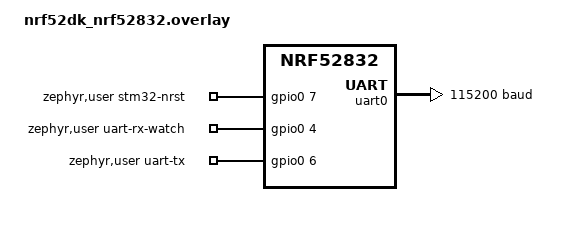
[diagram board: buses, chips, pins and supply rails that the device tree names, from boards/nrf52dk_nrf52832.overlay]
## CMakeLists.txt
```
# HY0020(nRF52832)のプログラム。nRF Connect SDK のアプリ(ボードは nrf52dk/nrf52832 を使う。README.md)
cmake_minimum_required(VERSION 3.20.0)

find_package(Zephyr REQUIRED HINTS $ENV{ZEPHYR_BASE})
project(koguma_mk4_ble)

target_sources(app PRIVATE
  src/main.c
  src/stm32_uart.c
  src/ble_link.c
  src/at_lines.c
)
```

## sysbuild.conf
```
# ブートローダ MCUboot を入れる(2 回目からは BLE で書き換えるため。docs/ble.md の 6.5)
SB_CONFIG_BOOTLOADER_MCUBOOT=y
```

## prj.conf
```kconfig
# HY0020(nRF52832)のプログラムの設定(nRF Connect SDK の Kconfig)

# ---- STM32 との UART(uart0、P0.06 送る・P0.08 受ける)。DMA で受ける非同期の API ----
CONFIG_SERIAL=y
CONFIG_UART_ASYNC_API=y
CONFIG_GPIO=y
# @flash のときに UART を眠らせて、P0.06 をふつうの出力にするため
CONFIG_PM_DEVICE=y

# uart0 は STM32 につながっているので、文字の出力(コンソール・ログ)には使わない。ログは SWD の RTT で見る
CONFIG_CONSOLE=n
CONFIG_UART_CONSOLE=n
CONFIG_LOG=y
CONFIG_USE_SEGGER_RTT=y
CONFIG_LOG_BACKEND_RTT=y
CONFIG_LOG_BACKEND_UART=n
CONFIG_LOG_PRINTK=n

# ---- BLE(Nordic UART Service)----
CONFIG_BT=y
CONFIG_BT_PERIPHERAL=y
CONFIG_BT_MAX_CONN=1
CONFIG_BT_NUS=y
CONFIG_BT_DEVICE_NAME="KOGUMA-MK4"
CONFIG_BT_DEVICE_NAME_DYNAMIC=y
CONFIG_BT_DEVICE_NAME_MAX=29
# 速く送るため: 2M PHY、データ長の拡張、MTU 247
CONFIG_BT_USER_PHY_UPDATE=y
CONFIG_BT_USER_DATA_LEN_UPDATE=y
CONFIG_BT_CTLR_DATA_LENGTH_MAX=251
CONFIG_BT_BUF_ACL_RX_SIZE=251
CONFIG_BT_BUF_ACL_TX_SIZE=251
CONFIG_BT_L2CAP_TX_MTU=247

# ---- 名前を Flash に残す(settings + NVS)----
CONFIG_FLASH=y
CONFIG_FLASH_PAGE_LAYOUT=y
CONFIG_FLASH_MAP=y
CONFIG_NVS=y
CONFIG_SETTINGS=y
CONFIG_BT_SETTINGS=y

# ---- BLE での書き換え(DFU。MCUboot と MCUmgr。sysbuild.conf で MCUboot を入れる)----
CONFIG_NCS_SAMPLE_MCUMGR_BT_OTA_DFU=y
# 書き換えを速くする設定はバッファを大きくして RAM(64KB)に入らないので使わない
CONFIG_NCS_SAMPLE_MCUMGR_BT_OTA_DFU_SPEEDUP=n
# MCUmgr の受けるバッファ(初めは 2475 バイト × 4 で約 10KB)を小さく。BLE の 1 回分(MTU 247)より大きければ動く
CONFIG_MCUMGR_TRANSPORT_NETBUF_SIZE=512
CONFIG_MCUMGR_TRANSPORT_NETBUF_COUNT=4

CONFIG_MAIN_STACK_SIZE=2048
CONFIG_SYSTEM_WORKQUEUE_STACK_SIZE=2048
CONFIG_HEAP_MEM_POOL_SIZE=2048
```

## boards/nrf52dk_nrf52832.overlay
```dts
/*
 * HY0020(nRF52832)を、nRF52 DK のボードの設定で動かすための上書き(デバイスツリー)
 *
 * - uart0: P0.06 送る(→ D99 → STM32 の UART_RX)、P0.08 受ける(← STM32 の UART_TX)。
 *   DK の初めの設定にある流れ制御の線(RTS P0.05・CTS P0.07)は外す(P0.07 は STM32 のリセットに使う)
 * - 速さは 115200(STM32 の USART1 と同じにする。1Mbaud にするときは両方を変える。docs/ble.md の 8 章)
 * - zephyr,user: このプログラムが使うピン(stm32_uart.c)
 */
&pinctrl {
	uart0_default: uart0_default {
		group1 {
			psels = <NRF_PSEL(UART_TX, 0, 6)>,
				<NRF_PSEL(UART_RX, 0, 8)>;
		};
	};

	uart0_sleep: uart0_sleep {
		group1 {
			psels = <NRF_PSEL(UART_RX, 0, 8)>;
			low-power-enable;
		};

		group2 {
			psels = <NRF_PSEL(UART_TX, 0, 6)>;
			low-power-enable;
		};
	};
};

&uart0 {
	current-speed = <115200>;
};

/ {
	zephyr,user {
		/* STM32 の NRST(D101 を通して L に引くだけ) */
		stm32-nrst-gpios = <&gpio0 7 GPIO_ACTIVE_HIGH>;
		/* STM32 の UART_RX を見るだけ(有線が送っているかを知る) */
		uart-rx-watch-gpios = <&gpio0 4 GPIO_ACTIVE_HIGH>;
		/* @flash のときに、UART から外して L にする送る端子(P0.06) */
		uart-tx-gpios = <&gpio0 6 GPIO_ACTIVE_HIGH>;
	};
};
```

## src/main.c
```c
/*
 * main.c — HY0020(nRF52832)のプログラムの入口: 起動の順番だけ
 *
 * 1. STM32 との UART を動かす(stm32_uart.c)
 * 2. BLE を動かし、アドバタイズを始める(ble_link.c)
 * 3. STM32 に「まだつながっていない」(`@link down`)を知らせる
 * あとはスレッドと BLE の知らせで動くので、main はここで終わる。
 */
#include <zephyr/kernel.h>
#include <zephyr/logging/log.h>

#include "koguma_ble.h"

LOG_MODULE_REGISTER(main, LOG_LEVEL_INF);

int main(void)
{
	LOG_INF("KOGUMA MK4 BLE(HY0020)起動");
	if (stm32_uart_start() != 0) {
		return 0;
	}
	if (ble_link_start() != 0) {
		return 0;
	}
	stm32_uart_send_own_line("@link down\n");
	return 0;
}
```

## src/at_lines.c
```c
/*
 * at_lines.c — `@` で始まる行の処理(docs/ble.md の 4.3)
 *
 * STM32 から:
 *   @quiet on   … 電波を止める(アドバタイズを止め、つながっていれば切る)
 *   @quiet off  … 電波を戻す
 *   @link?      … 今つながっているかを聞く → `@link up` か `@link down` を返す(STM32 が再起動したあと用)
 * PC から:
 *   @reset      … STM32 の NRST を 10ms L にする
 *   @flash      … STM32 をブートローダの書き込みの待ちに入れる
 *   @name <名前> … アドバタイズの名前を変えて Flash に残す
 *   PC には `#OK @…` か `#ERR …` を返す
 * この行は相手(STM32・PC)には渡さない。
 */
#include <string.h>
#include <zephyr/kernel.h>
#include <zephyr/logging/log.h>

#include "koguma_ble.h"

LOG_MODULE_REGISTER(at_lines, LOG_LEVEL_INF);

#define AT_LINE_MAX 64   /* @ の行の長さの上限(名前は 29 文字まで) */

/* 行の終わりの改行(\r・\n)を除いて、command に写す */
static void copy_without_newline(char *command, const char *line)
{
	size_t length = strlen(line);

	if (length > AT_LINE_MAX) {
		length = AT_LINE_MAX;
	}
	memcpy(command, line, length);
	command[length] = '\0';
	while (length > 0 && (command[length - 1] == '\n' || command[length - 1] == '\r')) {
		length = length - 1;
		command[length] = '\0';
	}
}

/* PC に 1 行返す(つながっていれば) */
static void reply_to_pc(const char *text)
{
	ble_link_queue_to_pc((const uint8_t *)text, strlen(text));
}

void at_line_from_stm32(const char *line)
{
	char command[AT_LINE_MAX + 1];

	copy_without_newline(command, line);
	if (strcmp(command, "@quiet on") == 0) {
		ble_link_set_quiet(true);
	} else if (strcmp(command, "@quiet off") == 0) {
		ble_link_set_quiet(false);
	} else if (strcmp(command, "@link?") == 0) {
		if (ble_link_is_connected()) {
			stm32_uart_send_own_line("@link up\n");
		} else {
			stm32_uart_send_own_line("@link down\n");
		}
	} else {
		LOG_WRN("STM32 からの知らない行: %s", command);
	}
}

void at_line_from_pc(const char *line)
{
	char command[AT_LINE_MAX + 1];

	copy_without_newline(command, line);
	if (strcmp(command, "@reset") == 0) {
		stm32_reset();
		reply_to_pc("#OK @reset\n");
	} else if (strcmp(command, "@flash") == 0) {
		stm32_enter_bootloader();
		reply_to_pc("#OK @flash\n");
	} else if (strncmp(command, "@name ", 6) == 0) {
		ble_link_set_name(command + 6);   /* "@name " の 6 文字のあとが名前 */
		reply_to_pc("#OK @name\n");
	} else {
		LOG_WRN("PC からの知らない行: %s", command);
		reply_to_pc("#ERR unknown @ command\n");
	}
}
```

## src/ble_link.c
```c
/*
 * ble_link.c — BLE の側(PC とのつながり)
 *
 * やること:
 *   1. 名前(初めは KOGUMA-MK4)を周りに知らせる電波(アドバタイズ)を 1 秒に 1 回出して、PC を待つ
 *   2. PC とつながったら、STM32 に `@link up`、切れたら `@link down` を送る(docs/ble.md の 2 章)
 *   3. PC から届いたデータ(Nordic UART Service = NUS)を、STM32 へ送る列に入れる(stm32_uart.c)
 *   4. STM32 から届いた行を、PC へ送る列に入れ、少しずつ NUS で送る
 *   5. @quiet on・off で電波を止める・戻す、@name で名前を変えて Flash に残す
 *
 * NUS は Nordic の決まった BLE のサービス(nRF Connect SDK の bt_nus)。PC は Web Bluetooth や Python(bleak)で読み書きする。
 */
#include <string.h>
#include <zephyr/kernel.h>
#include <zephyr/bluetooth/bluetooth.h>
#include <zephyr/bluetooth/conn.h>
#include <zephyr/bluetooth/hci.h>
#include <zephyr/settings/settings.h>
#include <zephyr/sys/ring_buffer.h>
#include <zephyr/logging/log.h>
#include <bluetooth/services/nus.h>

#include "koguma_ble.h"

LOG_MODULE_REGISTER(ble_link, LOG_LEVEL_INF);

#define TO_PC_BUF_SIZE 8192           /* PC へ送る待ちの列(STM32 → PC)。あふれそうなら STM32 に XOFF(stm32_uart.c) */
#define NAME_MAX 29                    /* アドバタイズに入る名前の長さの上限 */
#define ADV_INTERVAL 1600              /* アドバタイズの間隔。0.625ms の何倍か(1600 × 0.625ms = 1 秒) */

static struct bt_conn *current_conn = NULL;   /* つながっている PC(つながっていなければ NULL) */
static bool quiet = false;                     /* @quiet on で電波を止めているとき true */
static char adv_name[NAME_MAX + 1] = "KOGUMA-MK4";

RING_BUF_DECLARE(to_pc, TO_PC_BUF_SIZE);
static struct k_spinlock to_pc_lock;
static K_SEM_DEFINE(to_pc_sem, 0, 1);         /* PC へ送るものがある */

/* ---- アドバタイズ ---- */

/* アドバタイズを始める(つながっていない・電波を止めていないとき) */
static void start_advertising(void)
{
	/* 知らせる中身: 「BLE だけの機器」という印と、名前 */
	static const uint8_t flags[] = { BT_LE_AD_GENERAL | BT_LE_AD_NO_BREDR };   /* 印を 2 つ合わせた 1 バイト(Zephyr の決まり) */
	struct bt_data ad[2];

	ad[0].type = BT_DATA_FLAGS;
	ad[0].data_len = sizeof(flags);
	ad[0].data = flags;
	ad[1].type = BT_DATA_NAME_COMPLETE;
	ad[1].data_len = strlen(adv_name);
	ad[1].data = (const uint8_t *)adv_name;

	/* 聞かれたら返す中身: NUS の番号(PC がこの機体を NUS で探せるように) */
	static const uint8_t nus_uuid[] = { BT_UUID_NUS_VAL };
	struct bt_data sd[1];

	sd[0].type = BT_DATA_UUID128_ALL;
	sd[0].data_len = sizeof(nus_uuid);
	sd[0].data = nus_uuid;

	struct bt_le_adv_param param = BT_LE_ADV_PARAM_INIT(BT_LE_ADV_OPT_CONN, ADV_INTERVAL, ADV_INTERVAL, NULL);
	int err = bt_le_adv_start(&param, ad, ARRAY_SIZE(ad), sd, ARRAY_SIZE(sd));

	if (err != 0 && err != -EALREADY) {
		LOG_ERR("アドバタイズを始められない (%d)", err);
	}
}

/* アドバタイズを始め直す仕事(BLE の割り込みの中から直接は呼べないので、Zephyr の仕事の列に頼む) */
static void advertising_work_handler(struct k_work *work)
{
	ARG_UNUSED(work);
	if (quiet || current_conn != NULL) {
		return;
	}
	start_advertising();
}
static K_WORK_DEFINE(advertising_work, advertising_work_handler);

/* ---- つながる・切れる ---- */

/* PC とつながったとき(Zephyr から呼ばれる) */
static void connected(struct bt_conn *conn, uint8_t err)
{
	if (err != 0) {
		LOG_WRN("つながらなかった (%u)", err);
		return;
	}
	current_conn = bt_conn_ref(conn);
	LOG_INF("PC とつながった");
	stm32_uart_send_own_line("@link up\n");

	/* 速く送れるように頼む: 2M PHY(電波の速さ 2 倍)と、1 回に送る量を最大に。PC が断ってもそのまま動く */
	bt_conn_le_phy_update(conn, BT_CONN_LE_PHY_PARAM_2M);
	bt_conn_le_data_len_update(conn, BT_LE_DATA_LEN_PARAM_MAX);
}

/* PC と切れたとき */
static void disconnected(struct bt_conn *conn, uint8_t reason)
{
	LOG_INF("PC と切れた (0x%02x)", reason);
	if (current_conn != NULL) {
		bt_conn_unref(current_conn);
		current_conn = NULL;
	}
	/* 送りきれなかった分は捨てる(残すと列が埋まったままになり、STM32 に XON を送れない) */
	k_spinlock_key_t key = k_spin_lock(&to_pc_lock);

	ring_buf_reset(&to_pc);
	k_spin_unlock(&to_pc_lock, key);
	stm32_uart_send_own_line("@link down\n");
}

/* つながりの後片付けが終わったとき: アドバタイズを始め直す */
static void recycled(void)
{
	k_work_submit(&advertising_work);
}

BT_CONN_CB_DEFINE(conn_callbacks) = {
	.connected = connected,
	.disconnected = disconnected,
	.recycled = recycled,
};

/* ---- データ ---- */

/* PC から NUS で届いたとき(BLE のスレッドから呼ばれる): STM32 へ送る列に入れる */
static void nus_received(struct bt_conn *conn, const uint8_t *const data, uint16_t len)
{
	ARG_UNUSED(conn);
	size_t dropped = stm32_uart_queue_from_pc(data, len);

	if (dropped > 0) {
		LOG_WRN("PC から届いた %u バイトを捨てた(STM32 へ送る列がいっぱい)", dropped);
	}
}

static struct bt_nus_cb nus_callbacks = {
	.received = nus_received,
};

/* PC へ送るスレッド: 列から少しずつ取り出して NUS で送る */
static void to_pc_thread(void *p1, void *p2, void *p3)
{
	static uint8_t chunk[244];   /* 1 回に送る量の上限(MTU 247 − 3) */

	while (true) {
		k_sem_take(&to_pc_sem, K_MSEC(10));
		while (current_conn != NULL) {
			/* つながりを借りる(送っている途中に切れても、後片付けが終わらないように。最後に返す) */
			struct bt_conn *conn = bt_conn_ref(current_conn);
			uint32_t mtu = bt_nus_get_mtu(conn);   /* 今のつながりで 1 回に送れる量 */
			uint32_t want = sizeof(chunk);

			if (mtu < want) {
				want = mtu;
			}
			k_spinlock_key_t key = k_spin_lock(&to_pc_lock);
			uint32_t got = ring_buf_get(&to_pc, chunk, want);

			k_spin_unlock(&to_pc_lock, key);
			if (got == 0) {
				bt_conn_unref(conn);
				break;   /* 送るものがない */
			}
			/* 送る。BLE のバッファがいっぱい(-ENOMEM)なら、少し待って同じものを送り直す */
			int err = bt_nus_send(conn, chunk, got);

			while (err == -ENOMEM && current_conn != NULL) {
				k_sleep(K_MSEC(2));
				err = bt_nus_send(conn, chunk, got);
			}
			if (err != 0 && err != -ENOMEM) {
				/* PC が受け取りの準備をしていない(通知を有効にしていない)など。捨てる */
				LOG_DBG("NUS で送れない (%d)", err);
			}
			bt_conn_unref(conn);
		}
	}
}
K_THREAD_DEFINE(to_pc_tid, 2048, to_pc_thread, NULL, NULL, NULL, 7, 0, 0);

/* ---- 名前を Flash に残す(Zephyr の settings。キーは "koguma/name") ---- */

/* 起動のときに Flash から名前を読む(settings_load から呼ばれる) */
static int name_settings_set(const char *key, size_t len, settings_read_cb read_cb, void *cb_arg)
{
	if (strcmp(key, "name") != 0) {
		return -ENOENT;
	}
	if (len == 0 || len > NAME_MAX) {
		return -EINVAL;
	}
	int got = read_cb(cb_arg, adv_name, len);

	if (got < 0) {
		return got;
	}
	adv_name[got] = '\0';
	return 0;
}
SETTINGS_STATIC_HANDLER_DEFINE(koguma, "koguma", NULL, name_settings_set, NULL, NULL);

/* ---- ほかのファイルから使う関数 ---- */

int ble_link_start(void)
{
	int err = bt_enable(NULL);

	if (err != 0) {
		LOG_ERR("bt_enable に失敗 (%d)", err);
		return err;
	}
	settings_load();   /* 名前と、DFU の設定などを Flash から読む */
	bt_set_name(adv_name);

	err = bt_nus_init(&nus_callbacks);
	if (err != 0) {
		LOG_ERR("bt_nus_init に失敗 (%d)", err);
		return err;
	}
	start_advertising();
	LOG_INF("アドバタイズを始めた: %s", adv_name);
	return 0;
}

bool ble_link_is_connected(void)
{
	return current_conn != NULL;
}

void ble_link_queue_to_pc(const uint8_t *line, size_t length)
{
	if (current_conn == NULL) {
		return;   /* つながっていなければ捨てる(STM32 はつながっていないときは送らない決まり) */
	}
	k_spinlock_key_t key = k_spin_lock(&to_pc_lock);
	uint32_t put = ring_buf_put(&to_pc, line, length);

	k_spin_unlock(&to_pc_lock, key);
	if (put < length) {
		LOG_WRN("PC へ送る %u バイトを捨てた(列がいっぱい。XOFF が間に合わなかった)", length - put);
	}
	k_sem_give(&to_pc_sem);
}

int ble_link_queue_fill_percent(void)
{
	k_spinlock_key_t key = k_spin_lock(&to_pc_lock);
	uint32_t used = ring_buf_size_get(&to_pc);

	k_spin_unlock(&to_pc_lock, key);
	return (int)(used * 100 / TO_PC_BUF_SIZE);
}

void ble_link_set_quiet(bool on)
{
	quiet = on;
	if (on) {
		bt_le_adv_stop();
		if (current_conn != NULL) {
			bt_conn_disconnect(current_conn, BT_HCI_ERR_REMOTE_USER_TERM_CONN);
		}
		LOG_INF("電波を止めた");
	} else {
		k_work_submit(&advertising_work);
		LOG_INF("電波を戻した");
	}
}

void ble_link_set_name(const char *name)
{
	size_t length = strlen(name);

	if (length == 0 || length > NAME_MAX) {
		return;
	}
	strcpy(adv_name, name);
	bt_set_name(adv_name);
	settings_save_one("koguma/name", adv_name, length);
	/* 新しい名前で知らせ直す(つながっている間は、切れたあとから新しい名前になる) */
	if (current_conn == NULL && !quiet) {
		bt_le_adv_stop();
		start_advertising();
	}
	LOG_INF("名前を変えた: %s", adv_name);
}
```

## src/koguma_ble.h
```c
/*
 * koguma_ble.h — HY0020(nRF52832)のプログラムの、ファイルどうしで使う関数の一覧
 *
 * このプログラムは「STM32 の UART」と「PC の BLE(Nordic UART Service)」の橋渡しをする。
 * 中身は見ずにそのまま渡す。`@` で始まる行だけは、ここで処理する(docs/ble.md の 4.3)。
 *
 *   stm32_uart.c … STM32 との UART。行に区切る、PC からの行を送る、XON・XOFF、@flash のときの線の操作
 *   ble_link.c   … BLE。アドバタイズ、つながる・切れる、PC へ送る、名前
 *   at_lines.c   … `@` で始まる行の処理(STM32 から・PC から)
 *   main.c       … 起動の順番
 */
#ifndef KOGUMA_BLE_H
#define KOGUMA_BLE_H

#include <stdbool.h>
#include <stddef.h>
#include <stdint.h>

/* ---- stm32_uart.c ---- */

/* UART とピン(NRST・UART_RX を見るピン)を使えるようにし、送る・受けるのスレッドを動かす */
int stm32_uart_start(void);

/* PC から届いたデータを、STM32 に送る待ちの列に入れる(行に区切るのは送る側でやる)。入りきらなかった分は捨てて、捨てたバイト数を返す */
size_t stm32_uart_queue_from_pc(const uint8_t *data, size_t length);

/* nRF52832 が作った 1 行(`@link up` など、改行を含めて渡す)を STM32 に送る */
void stm32_uart_send_own_line(const char *line);

/* STM32 の NRST を 10ms L にする(@reset) */
void stm32_reset(void);

/* STM32 をブートローダの書き込みの待ちに入れる(@flash。docs/ble.md の 6.2) */
void stm32_enter_bootloader(void);

/* ---- ble_link.c ---- */

/* BLE を動かし、アドバタイズを始める */
int ble_link_start(void);

/* PC とつながっているか */
bool ble_link_is_connected(void);

/* STM32 から届いた 1 行(改行を含む)を、PC へ送る待ちの列に入れる。つながっていなければ捨てる */
void ble_link_queue_to_pc(const uint8_t *line, size_t length);

/* PC へ送る待ちの列が、どれだけ埋まっているか(0〜100 %)。XON・XOFF に使う */
int ble_link_queue_fill_percent(void);

/* 電波を止める(true)・戻す(false)(@quiet on・off) */
void ble_link_set_quiet(bool quiet);

/* アドバタイズの名前を変えて、Flash に残す(@name) */
void ble_link_set_name(const char *name);

/* ---- at_lines.c ---- */

/* STM32 から届いた `@` の行を処理する(行の終わりの改行は付いていてもよい) */
void at_line_from_stm32(const char *line);

/* PC から届いた `@` の行を処理する */
void at_line_from_pc(const char *line);

#endif
```

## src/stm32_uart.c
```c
/*
 * stm32_uart.c — STM32 との UART(HY0020 の P0.08 = 受ける、P0.06 = 送る)
 *
 * やること:
 *   1. STM32 から届いた文字を行に区切る。`@` の行は at_lines.c へ、ほかの行は BLE で PC へ(ble_link.c)
 *   2. PC から届いた行を STM32 に送る。有線(TP1)が送っている間は待つ(P0.04 で UART_RX を見る。docs/ble.md の 9 章)
 *   3. PC へ送る待ちの列があふれそうなら、STM32 に XOFF を送って止めてもらう(docs/ble.md の 4.4)
 *   4. @reset・@flash のときに、STM32 の NRST(P0.07)と UART_RX(P0.06)を L にする
 *
 * つなぎ方(回路図 ui.kicad_sch の U5):
 *   P0.06 → D99(ダイオード)→ STM32 の UART_RX。L に引くだけ(R101 で引き上げ)。有線の TP1 も同じ線を D100 で引く
 *   P0.08 ← STM32 の UART_TX
 *   P0.04 ← STM32 の UART_RX(見るだけ。有線が送っているかを知る)
 *   P0.07 → D101 → STM32 の NRST(L に引くだけ)
 *
 * UART は Zephyr の「非同期の API」(DMA で受ける)を使う。1 バイトごとの割り込みだと、BLE の電波の処理と重なったときに
 * 文字を取りこぼすことがあるため。受けた文字は、割り込みの中ではリングバッファに写すだけにして、行に区切るのはスレッドでやる。
 */
#include <string.h>
#include <zephyr/kernel.h>
#include <zephyr/device.h>
#include <zephyr/drivers/uart.h>
#include <zephyr/drivers/gpio.h>
#include <zephyr/pm/device.h>
#include <zephyr/sys/ring_buffer.h>
#include <zephyr/logging/log.h>

#include "koguma_ble.h"

LOG_MODULE_REGISTER(stm32_uart, LOG_LEVEL_INF);

#define XON_CHAR 0x11                /* 送ってよい */
#define XOFF_CHAR 0x13               /* 送るのを止めて */
#define XOFF_FILL_PERCENT 75         /* PC へ送る待ちの列がこれを超えたら XOFF */
#define XON_FILL_PERCENT 25          /* これを下回ったら XON */
#define LINE_MAX 600                 /* 1 行の長さの上限(fw の行は約 270 文字)。超えたらそこで区切る */
#define WIRED_IDLE_US 100            /* 有線が送っていないとみなす、UART_RX が H のままの時間 */
#define RX_DMA_SIZE 256              /* DMA で受ける 1 回分の大きさ(2 つを交互に使う) */
#define RX_IDLE_TIMEOUT_US 200       /* 文字が途切れてこの時間たったら、受けた分を渡す */

/* ---- ピン(app.overlay の zephyr,user の中に書いてある) ---- */
static const struct device *const uart_dev = DEVICE_DT_GET(DT_NODELABEL(uart0));
static const struct gpio_dt_spec stm32_nrst = GPIO_DT_SPEC_GET(DT_PATH(zephyr_user), stm32_nrst_gpios);
static const struct gpio_dt_spec uart_rx_watch = GPIO_DT_SPEC_GET(DT_PATH(zephyr_user), uart_rx_watch_gpios);
static const struct gpio_dt_spec uart_tx_pin = GPIO_DT_SPEC_GET(DT_PATH(zephyr_user), uart_tx_gpios);

/* ---- リングバッファ(Zephyr の ring_buf)。割り込みとスレッドの両方が触るので、spinlock で守る ---- */
RING_BUF_DECLARE(from_stm32_raw, 1024);      /* STM32 から受けたままの文字(割り込み → 受けるスレッド)。1Mbaud でも約 11ms 分 */
RING_BUF_DECLARE(to_stm32_from_pc, 6144);    /* PC から STM32 へ送る文字(BLE → 送るスレッド)。PC は書き込みのとき 4KB(文字で約 5.6KB)ごとに返事を待つので、それが入る大きさ */
RING_BUF_DECLARE(to_stm32_own, 512);         /* nRF52832 が作った行(@link up など) */
static struct k_spinlock ring_lock;

/* ---- 受ける側の DMA のバッファ(2 つを交互に渡す) ---- */
static uint8_t rx_dma_buf[2][RX_DMA_SIZE];
static int rx_dma_next = 0;                   /* 次に渡すバッファの番号(0 か 1) */
static volatile bool rx_stopping = false;     /* @flash で、わざと受けるのを止めているとき true */

/* ---- スレッドを起こす合図 ---- */
static K_SEM_DEFINE(rx_data_sem, 0, 1);      /* 受けた文字がある */
static K_SEM_DEFINE(tx_work_sem, 0, 1);      /* 送るものがある */
static K_SEM_DEFINE(tx_done_sem, 0, 1);      /* 1 回の送信が終わった */
static K_SEM_DEFINE(rx_disabled_sem, 0, 1);  /* 受けるのが止まった */

static bool xoff_sent = false;               /* STM32 に XOFF を送ってある(XON をまだ送っていない) */

/* リングバッファに入れる(spinlock の中で)。入った大きさを返す */
static uint32_t ring_put(struct ring_buf *ring, const uint8_t *data, uint32_t length)
{
	k_spinlock_key_t key = k_spin_lock(&ring_lock);
	uint32_t put = ring_buf_put(ring, data, length);

	k_spin_unlock(&ring_lock, key);
	return put;
}

/* リングバッファから 1 文字取る。取れたら true */
static bool ring_get_byte(struct ring_buf *ring, uint8_t *byte)
{
	k_spinlock_key_t key = k_spin_lock(&ring_lock);
	uint32_t got = ring_buf_get(ring, byte, 1);

	k_spin_unlock(&ring_lock, key);
	return got == 1;
}

/* UART のできごとの割り込み(Zephyr の非同期の API から呼ばれる)。
 * 受けた分をリングバッファに写すだけで、すぐ戻る(行に区切るのは rx_thread) */
static void uart_event(const struct device *dev, struct uart_event *evt, void *user_data)
{
	ARG_UNUSED(user_data);

	if (evt->type == UART_RX_RDY) {
		/* 受けた文字: DMA のバッファの offset から len バイト */
		uint32_t put = ring_put(&from_stm32_raw, evt->data.rx.buf + evt->data.rx.offset, evt->data.rx.len);

		if (put < evt->data.rx.len) {
			LOG_WRN("STM32 から受けた %u バイトを捨てた(受けるスレッドが遅れている)", evt->data.rx.len - put);
		}
		k_sem_give(&rx_data_sem);
	} else if (evt->type == UART_RX_BUF_REQUEST) {
		/* 今のバッファがいっぱいになる前に、次のバッファを渡しておく(2 つを交互に) */
		uart_rx_buf_rsp(dev, rx_dma_buf[rx_dma_next], RX_DMA_SIZE);
		rx_dma_next = rx_dma_next + 1;
		if (rx_dma_next >= 2) {
			rx_dma_next = 0;
		}
	} else if (evt->type == UART_RX_DISABLED) {
		/* 受けるのが止まった。わざと止めたのでなければ(ノイズで止まったなど)、すぐ受け直す */
		if (rx_stopping) {
			k_sem_give(&rx_disabled_sem);
		} else {
			uart_rx_enable(dev, rx_dma_buf[0], RX_DMA_SIZE, RX_IDLE_TIMEOUT_US);
			rx_dma_next = 1;
		}
	} else if (evt->type == UART_TX_DONE || evt->type == UART_TX_ABORTED) {
		k_sem_give(&tx_done_sem);
	}
}

/* 受けるのを始める(起動のときと、@flash のあと) */
static void start_receiving(void)
{
	rx_dma_next = 1;
	int err = uart_rx_enable(uart_dev, rx_dma_buf[0], RX_DMA_SIZE, RX_IDLE_TIMEOUT_US);

	if (err != 0) {
		LOG_ERR("uart_rx_enable に失敗 (%d)", err);
	}
}

/* 文字を STM32 に送り、送り終わるまで待つ(DMA で送る。送る文字の配列は送り終わるまで変えない) */
static void send_and_wait(const uint8_t *data, size_t length)
{
	if (length == 0) {
		return;
	}
	int err = uart_tx(uart_dev, data, length, SYS_FOREVER_US);

	if (err != 0) {
		LOG_ERR("uart_tx に失敗 (%d)", err);
		return;
	}
	k_sem_take(&tx_done_sem, K_FOREVER);
}

/* 有線(TP1)が送っていない(UART_RX が 100µs ずっと H)まで待つ。
 * 割り込みを使わず、P0.04 を短い間隔で読む(1Mbaud だと端の数が多く、割り込みでは重いため) */
static void wait_wired_idle(void)
{
	uint32_t idle_cycles = k_us_to_cyc_ceil32(WIRED_IDLE_US);

	while (true) {
		uint32_t start = k_cycle_get_32();
		bool saw_low = false;

		while (k_cycle_get_32() - start < idle_cycles) {
			if (gpio_pin_get_dt(&uart_rx_watch) == 0) {
				saw_low = true;
				break;
			}
		}
		if (!saw_low) {
			return;
		}
		k_sleep(K_USEC(200));   /* 有線が送っている。少し待ってから見直す */
	}
}

/* PC へ送る待ちの列の埋まり方を見て、STM32 に XOFF・XON を送る */
static void update_flow_control(void)
{
	static uint8_t flow_char;   /* DMA で送るので、送り終わるまで残る所に置く */
	int fill = ble_link_queue_fill_percent();

	if (!xoff_sent && fill > XOFF_FILL_PERCENT) {
		flow_char = XOFF_CHAR;
		wait_wired_idle();
		send_and_wait(&flow_char, 1);
		xoff_sent = true;
	} else if (xoff_sent && fill < XON_FILL_PERCENT) {
		flow_char = XON_CHAR;
		wait_wired_idle();
		send_and_wait(&flow_char, 1);
		xoff_sent = false;
	}
}

/* 受けるスレッド: STM32 から受けた文字を行に区切る。`@` の行は at_lines.c へ、ほかは PC へ */
static void rx_thread(void *p1, void *p2, void *p3)
{
	static char line[LINE_MAX + 1];   /* 最後に '\0' を置く分 +1 */
	int line_length = 0;
	uint8_t byte;

	while (true) {
		k_sem_take(&rx_data_sem, K_FOREVER);
		while (ring_get_byte(&from_stm32_raw, &byte)) {
			if (byte == XON_CHAR || byte == XOFF_CHAR) {
				continue;   /* 流れの制御の文字はテキストには出てこない。捨てる */
			}
			line[line_length] = (char)byte;
			line_length = line_length + 1;
			if (byte != '\n' && line_length < LINE_MAX) {
				continue;   /* 行の途中 */
			}
			/* 1 行そろった(または長すぎるのでここで区切る) */
			line[line_length] = '\0';
			if (line[0] == '@') {
				at_line_from_stm32(line);
			} else {
				ble_link_queue_to_pc((const uint8_t *)line, line_length);
			}
			line_length = 0;
		}
	}
}

/* 送るスレッド: nRF52832 の行、PC から届いた行を STM32 に送る。XON・XOFF もここで送る。
 * 行の途中で有線とまざらないように、1 行ずつ、有線が止まっているのを確かめてから送る */
static void tx_thread(void *p1, void *p2, void *p3)
{
	static uint8_t line[LINE_MAX + 1];       /* PC からの行。DMA で送るので static(送り終わるまで変えない) */
	static uint8_t own_line[LINE_MAX + 1];   /* nRF52832 が作った行(PC からの行と別の配列にする。PC の行を溜めている途中でも送れるように) */
	int line_length = 0;
	uint8_t byte;

	while (true) {
		/* 送るものがなくても 5ms ごとに起きて、XON を送るかどうかを見る */
		k_sem_take(&tx_work_sem, K_MSEC(5));
		update_flow_control();

		/* 1. nRF52832 が作った行(@link up など)を先に送る */
		int own_length = 0;
		while (own_length < LINE_MAX && ring_get_byte(&to_stm32_own, &byte)) {
			own_line[own_length] = byte;
			own_length = own_length + 1;
		}
		if (own_length > 0) {
			wait_wired_idle();
			send_and_wait(own_line, own_length);
		}

		/* 2. PC から届いた文字を 1 行ずつ */
		while (ring_get_byte(&to_stm32_from_pc, &byte)) {
			line[line_length] = byte;
			line_length = line_length + 1;
			if (byte != '\n' && line_length < LINE_MAX) {
				continue;
			}
			if (line[0] == '@') {
				/* nRF52832 あての行: STM32 には送らない */
				line[line_length] = '\0';
				at_line_from_pc((const char *)line);
			} else {
				wait_wired_idle();
				send_and_wait(line, line_length);
			}
			line_length = 0;
			update_flow_control();
		}
	}
}

K_THREAD_STACK_DEFINE(rx_stack, 2048);
K_THREAD_STACK_DEFINE(tx_stack, 2048);
static struct k_thread rx_thread_data;
static struct k_thread tx_thread_data;

int stm32_uart_start(void)
{
	if (!device_is_ready(uart_dev)) {
		LOG_ERR("UART が使えない");
		return -ENODEV;
	}
	/* NRST へのピン: H(ダイオード D101 で止まるので、STM32 には何もしない) */
	gpio_pin_configure_dt(&stm32_nrst, GPIO_OUTPUT_HIGH);
	/* UART_RX を見るピン: 入力(R101 で引き上げてあるので、中のプルアップは使わない) */
	gpio_pin_configure_dt(&uart_rx_watch, GPIO_INPUT);

	uart_callback_set(uart_dev, uart_event, NULL);
	start_receiving();

	k_thread_create(&rx_thread_data, rx_stack, K_THREAD_STACK_SIZEOF(rx_stack), rx_thread, NULL, NULL, NULL,
			5, 0, K_NO_WAIT);
	k_thread_create(&tx_thread_data, tx_stack, K_THREAD_STACK_SIZEOF(tx_stack), tx_thread, NULL, NULL, NULL,
			6, 0, K_NO_WAIT);
	return 0;
}

size_t stm32_uart_queue_from_pc(const uint8_t *data, size_t length)
{
	uint32_t put = ring_put(&to_stm32_from_pc, data, length);

	k_sem_give(&tx_work_sem);
	return length - put;
}

void stm32_uart_send_own_line(const char *line)
{
	ring_put(&to_stm32_own, (const uint8_t *)line, strlen(line));
	k_sem_give(&tx_work_sem);
}

void stm32_reset(void)
{
	gpio_pin_set_dt(&stm32_nrst, 0);   /* L: D101 を通して NRST を引く */
	k_sleep(K_MSEC(10));
	gpio_pin_set_dt(&stm32_nrst, 1);   /* H: ダイオードで止まる(放す) */
}

/* STM32 をブートローダの書き込みの待ちに入れる(docs/ble.md の 6.2 の 2):
 *   UART_RX を L にしたまま NRST を 10ms L → 放してから 50ms 後に UART_RX を放す。
 *   ブートローダは、起動して 1ms の間 UART_RX が L なら書き込みの待ちに入る。
 * UART_RX を L にするには、UART の送る端子(P0.06)を UART から外して、ふつうの出力の L にする。
 * この関数は送るスレッドから呼ばれる(PC からの @flash の行)ので、送っている途中ではない */
void stm32_enter_bootloader(void)
{
	/* 1. 受けるのを止める(止まったという知らせを待つ) */
	rx_stopping = true;
	uart_rx_disable(uart_dev);
	k_sem_take(&rx_disabled_sem, K_MSEC(100));

	/* 2. UART を眠らせる(ピンが UART から外れる)→ P0.06 をふつうの出力の L に */
	pm_device_action_run(uart_dev, PM_DEVICE_ACTION_SUSPEND);
	gpio_pin_configure_dt(&uart_tx_pin, GPIO_OUTPUT_LOW);

	/* 3. NRST を 10ms L → 放す。ブートローダが UART_RX の L を見る */
	stm32_reset();
	k_sleep(K_MSEC(50));

	/* 4. P0.06 を放し(入力に)、UART を起こす(ピンが UART に戻る)→ また受ける */
	gpio_pin_configure_dt(&uart_tx_pin, GPIO_INPUT);
	pm_device_action_run(uart_dev, PM_DEVICE_ACTION_RESUME);
	rx_stopping = false;
	start_receiving();
	LOG_INF("STM32 をブートローダの書き込みの待ちに入れた");
}
```
